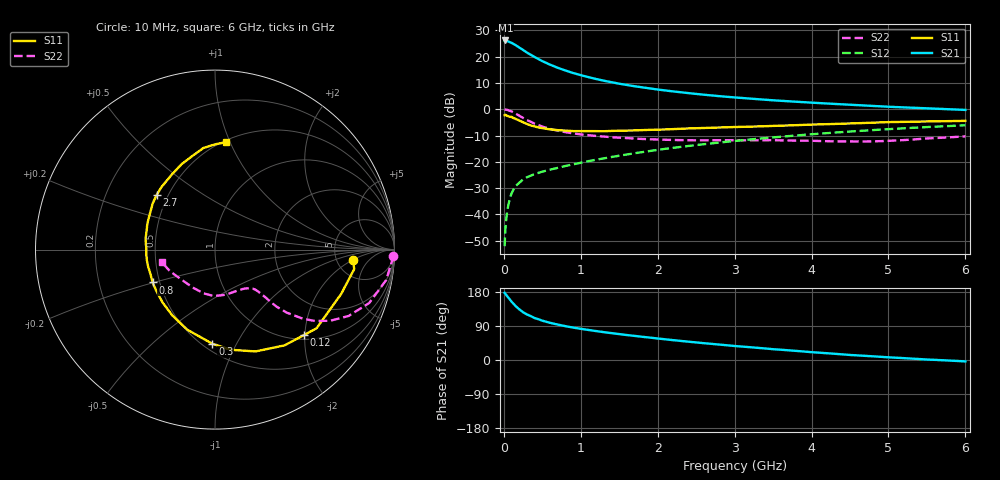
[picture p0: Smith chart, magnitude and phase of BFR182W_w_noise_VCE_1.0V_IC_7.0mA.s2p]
! Infineon Technologies  Discrete & RF Semiconductors
! BFR182W
! VCE =  1.0 V,  IC =  7.0 mA
! Common Emitter S-Parameters:  Jan 2017
# GHz  S  MA  R  50
!  f  S11  S21  S12  S22
! GHz  MAG  ANG  MAG  ANG  MAG  ANG  MAG  ANG
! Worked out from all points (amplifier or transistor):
!   77 points, 10 MHz to 6 GHz, reference 50 ohm
!   highest |S21| = 26.1 dB at 20 MHz (marker M1)
!   |S21| within 3 dB of that: start of sweep to 217.4 MHz
!   unconditionally stable (mu >= 1): 1.117 GHz to 3.04 GHz
!   at 130 MHz: K = 0.24, MSG = 27.5 dB, |S12| = -30.3 dB
!   at 2.2 GHz: K = 1.05, MAG = 9.3 dB, |S12| = -14.7 dB
!   at 6 GHz: K = 0.90, MSG = 2.9 dB, |S12| = -6.1 dB
!   lowest NFmin = 0.95 dB at 450 MHz
!   S11 on the Smith chart (normalised r, x): 10 MHz: 7.21, -1.97; 120 MHz: 1.09, -1.97; 300 MHz: 0.56, -0.80; 800 MHz: 0.46, -0.20; 2.7 GHz: 0.43, +0.33; 6 GHz: 0.51, +0.97
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0.01  0.7716 -4.1  20.03 177.3  0.0025 88.4  0.9937 -2.0
0.02  0.7829 -8.0  20.29 174.7  0.0052 88.3  0.9864 -4.2
0.05  0.745 -19.4  19.65 166.5  0.013 82.0  0.9685 -10.1
0.08  0.7184 -30.3  18.75 159.1  0.0202 75.2  0.9301 -15.4
0.1  0.7158 -37.8  18.33 153.9  0.0251 72.8  0.9092 -19.1
0.12  0.6868 -44.0  17.58 149.8  0.0287 69.3  0.8764 -21.9
0.15  0.6595 -54.0  16.65 142.9  0.0343 65.5  0.8314 -26.4
0.2  0.6109 -68.2  14.92 133.8  0.04 61.8  0.7546 -31.7
0.25  0.5655 -80.9  13.38 126.1  0.0465 57.6  0.685 -35.5
0.3  0.5248 -91.6  11.95 120.2  0.051 55.6  0.623 -38.2
0.4  0.4724 -109.0  9.814 110.7  0.0586 54.4  0.5321 -41.3
0.5  0.4368 -123.1  8.204 103.8  0.0651 53.1  0.4685 -42.8
0.6  0.4151 -134.6  7.044 98.1  0.0711 53.7  0.4238 -43.3
0.8  0.3929 -152.2  5.453 89.3  0.0835 56.1  0.3668 -43.7
1.1  0.3843 -171.3  4.073 79.3  0.1034 58.0  0.3211 -44.6
1.5  0.3913 171.0  3.06 68.4  0.1309 59.4  0.2879 -48.3
2.1  0.4135 151.5  2.275 54.6  0.1769 59.0  0.2632 -59.2
2.7  0.4449 136.8  1.831 42.6  0.2245 56.6  0.2572 -73.5
3.1  0.4629 128.0  1.635 35.4  0.2577 54.2  0.2569 -82.8
4.1  0.5156 109.7  1.31 19.3  0.3431 46.5  0.2491 -107.5
5.1  0.5725 95.2  1.1 6.0  0.4265 37.2  0.2548 -141.9
6  0.6018 84.2  0.971 -3.7  0.4959 28.0  0.3059 -167.0
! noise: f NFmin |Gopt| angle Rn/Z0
0.45  0.95  0.17  35  0.16
0.9  1.04  0.15  63  0.15
1.9  1.57  0.18  174  0.13
2.4  1.84  0.19  -178  0.18
